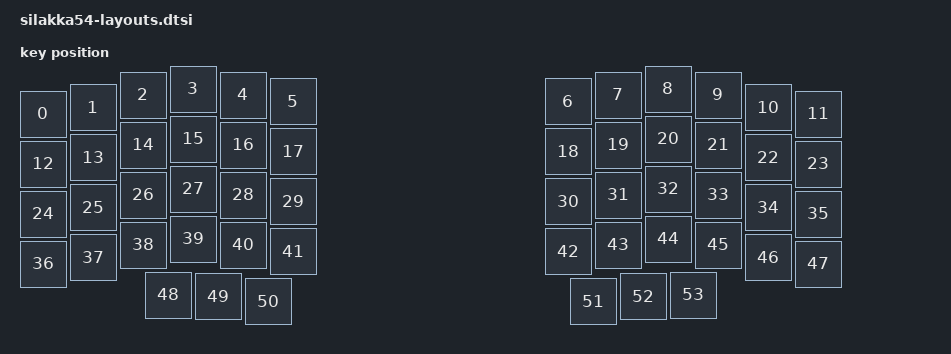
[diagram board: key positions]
/*
 * Copyright (c) 2024 The ZMK Contributors
 * Copyright (c) 2026 Anshul Joshi
 *
 * SPDX-License-Identifier: MIT
 *
 * Physical layout for ZMK Studio. Derived from the upstream Lily58 layout
 * (app/dts/layouts/kata0510/lily58.dtsi) with the four keys the Silakka54
 * does not have removed: the two inner row-3 keys and the rotated 1.5u
 * inner thumb of each side. Key order matches default_transform.
 * Units are centi-keyunits: 100 = one key width.
 */

#include <physical_layouts.dtsi>

/ {
    silakka54_layout: silakka54_layout {
        compatible = "zmk,physical-layout";
        display-name = "Default";

        keys  //                     w   h    x    y     rot    rx    ry
            = <&key_physical_attrs 100 100    0   50       0     0     0>
            , <&key_physical_attrs 100 100  100   37       0     0     0>
            , <&key_physical_attrs 100 100  200   12       0     0     0>
            , <&key_physical_attrs 100 100  300    0       0     0     0>
            , <&key_physical_attrs 100 100  400   12       0     0     0>
            , <&key_physical_attrs 100 100  500   25       0     0     0>
            , <&key_physical_attrs 100 100 1050   25       0     0     0>
            , <&key_physical_attrs 100 100 1150   12       0     0     0>
            , <&key_physical_attrs 100 100 1250    0       0     0     0>
            , <&key_physical_attrs 100 100 1350   12       0     0     0>
            , <&key_physical_attrs 100 100 1450   37       0     0     0>
            , <&key_physical_attrs 100 100 1550   50       0     0     0>
            , <&key_physical_attrs 100 100    0  150       0     0     0>
            , <&key_physical_attrs 100 100  100  137       0     0     0>
            , <&key_physical_attrs 100 100  200  112       0     0     0>
            , <&key_physical_attrs 100 100  300  100       0     0     0>
            , <&key_physical_attrs 100 100  400  112       0     0     0>
            , <&key_physical_attrs 100 100  500  125       0     0     0>
            , <&key_physical_attrs 100 100 1050  125       0     0     0>
            , <&key_physical_attrs 100 100 1150  112       0     0     0>
            , <&key_physical_attrs 100 100 1250  100       0     0     0>
            , <&key_physical_attrs 100 100 1350  112       0     0     0>
            , <&key_physical_attrs 100 100 1450  137       0     0     0>
            , <&key_physical_attrs 100 100 1550  150       0     0     0>
            , <&key_physical_attrs 100 100    0  250       0     0     0>
            , <&key_physical_attrs 100 100  100  237       0     0     0>
            , <&key_physical_attrs 100 100  200  212       0     0     0>
            , <&key_physical_attrs 100 100  300  200       0     0     0>
            , <&key_physical_attrs 100 100  400  212       0     0     0>
            , <&key_physical_attrs 100 100  500  225       0     0     0>
            , <&key_physical_attrs 100 100 1050  225       0     0     0>
            , <&key_physical_attrs 100 100 1150  212       0     0     0>
            , <&key_physical_attrs 100 100 1250  200       0     0     0>
            , <&key_physical_attrs 100 100 1350  212       0     0     0>
            , <&key_physical_attrs 100 100 1450  237       0     0     0>
            , <&key_physical_attrs 100 100 1550  250       0     0     0>
            , <&key_physical_attrs 100 100    0  350       0     0     0>
            , <&key_physical_attrs 100 100  100  337       0     0     0>
            , <&key_physical_attrs 100 100  200  312       0     0     0>
            , <&key_physical_attrs 100 100  300  300       0     0     0>
            , <&key_physical_attrs 100 100  400  312       0     0     0>
            , <&key_physical_attrs 100 100  500  325       0     0     0>
            , <&key_physical_attrs 100 100 1050  325       0     0     0>
            , <&key_physical_attrs 100 100 1150  312       0     0     0>
            , <&key_physical_attrs 100 100 1250  300       0     0     0>
            , <&key_physical_attrs 100 100 1350  312       0     0     0>
            , <&key_physical_attrs 100 100 1450  337       0     0     0>
            , <&key_physical_attrs 100 100 1550  350       0     0     0>
            , <&key_physical_attrs 100 100  250  412       0     0     0>
            , <&key_physical_attrs 100 100  350  415       0     0     0>
            , <&key_physical_attrs 100 100  450  425       0     0     0>
            , <&key_physical_attrs 100 100 1100  425       0     0     0>
            , <&key_physical_attrs 100 100 1200  415       0     0     0>
            , <&key_physical_attrs 100 100 1300  412       0     0     0>
            ;
    };
};
